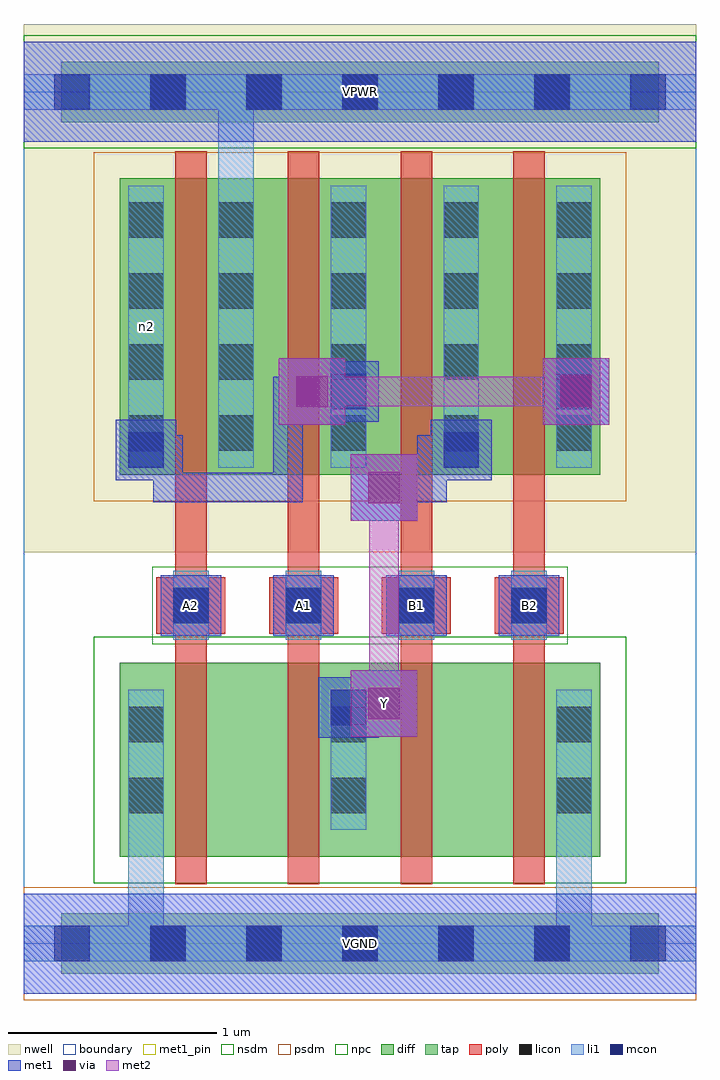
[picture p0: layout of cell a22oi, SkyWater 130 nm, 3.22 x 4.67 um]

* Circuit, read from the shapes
.subckt a22oi A1 A2 B1 B2 VGND VPWR Y n2
XM1 n1 A2 VGND VGND sky130_fd_pr__nfet_01v8 w=0.93 l=0.15
XM2 Y A1 n1 VGND sky130_fd_pr__nfet_01v8 w=0.93 l=0.15
XM3 n3 B1 Y VGND sky130_fd_pr__nfet_01v8 w=0.93 l=0.15
XM4 VGND B2 n3 VGND sky130_fd_pr__nfet_01v8 w=0.93 l=0.15
XM5 VPWR A2 n2 VPWR sky130_fd_pr__pfet_01v8 w=1.42 l=0.15
XM6 n2 A1 VPWR VPWR sky130_fd_pr__pfet_01v8 w=1.42 l=0.15
XM7 Y B1 n2 VPWR sky130_fd_pr__pfet_01v8 w=1.42 l=0.15
XM8 n2 B2 Y VPWR sky130_fd_pr__pfet_01v8 w=1.42 l=0.15
.ends

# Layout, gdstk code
import gdstk
lib = gdstk.Library(unit=1e-6, precision=1e-09)
def R(c, l, rs):  # rectangles x0, y0, x1, y1
    for r in rs: c.add(gdstk.rectangle(r[:2], r[2:], *l))
def A(c, l, x, y, w, h, nx, ny, dx, dy):  # array of equal rectangles
    R(c, l, [(x+i*dx, y+j*dy, x+i*dx+w, y+j*dy+h) for i in range(nx) for j in range(ny)])
nwell = (64, 20)
diff = (65, 20)
tap = (65, 44)
poly = (66, 20)
licon = (66, 44)
li1 = (67, 20)
mcon = (67, 44)
met1_pin = (68, 16)
met1 = (68, 20)
via = (68, 44)
met2 = (69, 20)
nsdm = (93, 44)
psdm = (94, 20)
npc = (95, 20)
boundary = (235, 4)

a22oi = lib.new_cell('a22oi')
R(a22oi, nwell, [(0,1.875,3.22,4.405)])
R(a22oi, diff, [(0.46,0.415,2.76,1.345), (0.46,2.245,2.76,3.665)])
R(a22oi, tap, [(0.18,-0.145,3.04,0.145), (0.18,3.935,3.04,4.225)])
A(a22oi, poly, 0.725, 0.285, 0.15, 3.51, 4, 1, 0.54, 0)
A(a22oi, poly, 0.635, 1.485, 0.33, 0.27, 4, 1, 0.54, 0)
A(a22oi, licon, 0.605, -0.085, 0.17, 0.17, 5, 2, 0.46, 4.08)
A(a22oi, licon, 0.715, 1.535, 0.17, 0.17, 4, 1, 0.54, 0)
A(a22oi, licon, 0.5, 2.36, 0.17, 0.17, 1, 4, 0, 0.34)
A(a22oi, licon, 0.93, 2.36, 0.17, 0.17, 4, 4, 0.54, 0.34)
R(a22oi, licon, [(0.5,0.625,0.67,0.795), (1.47,0.625,1.64,0.795), (2.55,0.625,2.72,0.795), (0.5,0.965,0.67,1.135), (1.47,0.965,1.64,1.135), (2.55,0.965,2.72,1.135)])
A(a22oi, li1, 0.715, 1.455, 0.17, 0.33, 4, 1, 0.54, 0)
A(a22oi, li1, 0.93, 2.28, 0.17, 1.35, 4, 1, 0.54, 0)
R(a22oi, li1, [(0,-0.085,3.22,0.085), (0.5,-0.085,0.67,1.215), (2.55,-0.085,2.72,1.215), (0.5,0.545,0.67,1.215), (1.47,0.545,1.64,1.215), (2.55,0.545,2.72,1.215), (0.5,2.28,0.67,3.63), (0.93,2.28,1.1,4.165), (0,3.995,3.22,4.165)])
A(a22oi, mcon, 0.145, -0.085, 0.17, 0.17, 7, 2, 0.46, 4.08)
A(a22oi, mcon, 0.715, 1.535, 0.17, 0.17, 4, 1, 0.54, 0)
R(a22oi, mcon, [(1.47,1.045,1.64,1.215), (0.5,2.28,0.67,2.45), (2.01,2.28,2.18,2.45), (1.47,2.56,1.64,2.73), (2.55,2.56,2.72,2.73)])
A(a22oi, met1_pin, 0.655, 1.475, 0.29, 0.29, 4, 1, 0.54, 0)
R(a22oi, met1_pin, [(0,-0.24,3.22,0.24), (1.565,0.99,1.885,1.31), (0,3.84,3.22,4.32)])
A(a22oi, met1, 0.655, 1.475, 0.29, 0.29, 4, 1, 0.54, 0)
R(a22oi, met1, [(0,-0.24,3.22,0.24), (1.41,0.985,1.7,1.275), (1.565,0.99,1.885,1.31), (1.485,1.06,1.795,1.2), (1.655,1.06,1.795,1.22), (1.565,2.025,1.885,2.345), (0.62,2.115,0.76,2.435), (0.62,2.115,1.335,2.255), (1.195,2.115,1.335,2.715), (1.655,2.115,2.025,2.255), (1.885,2.115,2.025,2.435), (0.44,2.22,0.73,2.51), (1.95,2.22,2.24,2.51), (0.515,2.295,0.76,2.435), (1.885,2.295,2.165,2.435), (1.22,2.485,1.54,2.805), (2.485,2.485,2.805,2.805), (1.335,2.5,1.41,2.715), (1.41,2.5,1.7,2.79), (2.49,2.5,2.78,2.79), (1.195,2.575,1.45,2.715), (1.31,2.575,1.625,2.715), (2.565,2.575,2.715,2.715), (0,3.84,3.22,4.32)])
R(a22oi, via, [(1.65,1.075,1.8,1.225), (1.65,2.11,1.8,2.26), (1.305,2.57,1.455,2.72), (2.57,2.57,2.72,2.72)])
R(a22oi, met2, [(1.565,0.99,1.885,1.31), (1.655,1.08,1.795,2.255), (1.565,2.025,1.885,2.345), (1.22,2.485,1.54,2.805), (2.485,2.485,2.805,2.805), (1.31,2.575,2.715,2.715)])
R(a22oi, nsdm, [(0.335,0.29,2.885,1.47), (0,3.81,3.22,4.35)])
R(a22oi, psdm, [(0,-0.27,3.22,0.27), (0.335,2.12,2.885,3.79)])
R(a22oi, npc, [(0.615,1.435,2.605,1.805)])
R(a22oi, boundary, [(0,0,3.22,4.08)])
a22oi.add(gdstk.Label('n2', (0.585,2.955), layer=67, texttype=5))
a22oi.add(gdstk.Label('A1', (1.34,1.62), layer=68, texttype=5))
a22oi.add(gdstk.Label('A2', (0.8,1.62), layer=68, texttype=5))
a22oi.add(gdstk.Label('B1', (1.88,1.62), layer=68, texttype=5))
a22oi.add(gdstk.Label('B2', (2.42,1.62), layer=68, texttype=5))
a22oi.add(gdstk.Label('Y', (1.725,1.15), layer=68, texttype=5))
a22oi.add(gdstk.Label('VPWR', (1.61,4.08), layer=68, texttype=5))
a22oi.add(gdstk.Label('VGND', (1.61,0), layer=68, texttype=5))
a22oi.add(gdstk.Label('A1', (1.34,1.62), layer=68, texttype=16))
a22oi.add(gdstk.Label('A2', (0.8,1.62), layer=68, texttype=16))
a22oi.add(gdstk.Label('B1', (1.88,1.62), layer=68, texttype=16))
a22oi.add(gdstk.Label('B2', (2.42,1.62), layer=68, texttype=16))
a22oi.add(gdstk.Label('Y', (1.725,1.15), layer=68, texttype=16))
a22oi.add(gdstk.Label('VPWR', (1.61,4.08), layer=68, texttype=16))
a22oi.add(gdstk.Label('VGND', (1.61,0), layer=68, texttype=16))

lib.write_gds('a22oi.gds')
